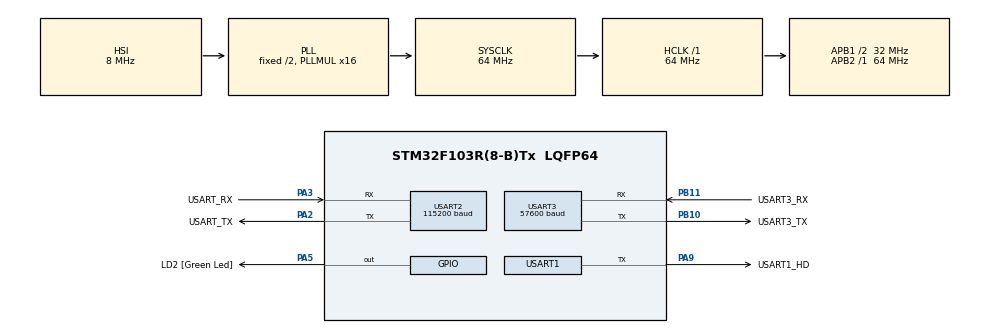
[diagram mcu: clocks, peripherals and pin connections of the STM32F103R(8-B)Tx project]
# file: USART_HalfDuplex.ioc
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Mcu.Family=STM32F1
Mcu.Name=STM32F103R(8-B)Tx
Mcu.Package=LQFP64
NVIC.PriorityGroup=NVIC_PRIORITYGROUP_4
NVIC.USART1_IRQn=true\:0\:0\:false\:false\:true\:true\:true\:true
NVIC.USART3_IRQn=true\:0\:0\:false\:false\:true\:true\:true\:true
PA13.GPIO_Label=TMS
PA13.Mode=Serial_Wire
PA13.Signal=SYS_JTMS-SWDIO
PA14.GPIO_Label=TCK
PA14.Mode=Serial_Wire
PA14.Signal=SYS_JTCK-SWCLK
PA2.GPIO_Label=USART_TX
PA2.GPIO_Mode=GPIO_MODE_AF_PP
PA2.GPIO_PuPd=GPIO_NOPULL
PA2.GPIO_Speed=GPIO_SPEED_FREQ_LOW
PA2.Mode=Asynchronous
PA2.Signal=USART2_TX
PA3.GPIO_Label=USART_RX
PA3.GPIO_PuPd=GPIO_NOPULL
PA3.GPIO_Speed=GPIO_SPEED_FREQ_LOW
PA3.Mode=Asynchronous
PA3.Signal=USART2_RX
PA5.GPIO_Label=LD2 [Green Led]
PA5.GPIO_ModeDefaultOutputPP=GPIO_MODE_OUTPUT_PP
PA5.GPIO_PuPd=GPIO_NOPULL
PA5.GPIO_Speed=GPIO_SPEED_FREQ_LOW
PA5.Signal=GPIO_Output
PA9.GPIO_Label=USART1_HD
PA9.GPIO_Mode=GPIO_MODE_AF_OD
PA9.GPIO_PuPd=GPIO_PULLUP
PA9.GPIO_Speed=GPIO_SPEED_FREQ_HIGH
PA9.Mode=Single_Wire
PA9.Signal=USART1_TX
PB10.GPIO_Label=USART3_TX
PB10.GPIO_Mode=GPIO_MODE_AF_OD
PB10.GPIO_PuPd=GPIO_PULLUP
PB10.GPIO_Speed=GPIO_SPEED_FREQ_HIGH
PB10.Mode=Asynchronous
PB10.Signal=USART3_TX
PB11.GPIO_Label=USART3_RX
PB11.GPIO_PuPd=GPIO_PULLUP
PB11.Mode=Asynchronous
PB11.Signal=USART3_RX
PB3.GPIO_Label=SWO
PB3.Signal=SYS_JTDO-TRACESWO
PC14-OSC32_IN.Mode=LSE-External-Oscillator
PC14-OSC32_IN.Signal=RCC_OSC32_IN
PC15-OSC32_OUT.Mode=LSE-External-Oscillator
PC15-OSC32_OUT.Signal=RCC_OSC32_OUT
PD0-OSC_IN.Mode=HSE-External-Clock-Source
PD0-OSC_IN.Signal=RCC_OSC_IN
PD1-OSC_OUT.Mode=HSE-External-Clock-Source
PD1-OSC_OUT.Signal=RCC_OSC_OUT
ProjectManager.HeapSize=0x200
ProjectManager.StackSize=0x400
ProjectManager.TargetToolchain=STM32CubeIDE
RCC.AHBFreq_Value=64000000
RCC.APB1CLKDivider=RCC_HCLK_DIV2
RCC.APB1Freq_Value=32000000
RCC.APB1TimFreq_Value=64000000
RCC.APB2Freq_Value=64000000
RCC.APB2TimFreq_Value=64000000
RCC.HCLKFreq_Value=64000000
RCC.PLLMUL=RCC_PLL_MUL16
RCC.RTCClockSelection=RCC_RTCCLKSOURCE_LSE
RCC.SYSCLKFreq_VALUE=64000000
RCC.SYSCLKSource=RCC_SYSCLKSOURCE_PLLCLK
RCC.USBFreq_Value=64000000
USART1.BaudRate=57600
USART1.VirtualMode=VM_SINGLEWIRE
USART2.BaudRate=115200
USART2.VirtualMode=VM_ASYNC
USART3.BaudRate=57600
USART3.VirtualMode=VM_ASYNC
board=NUCLEO-F103RB

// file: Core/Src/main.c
/* USER CODE BEGIN Header */
/**
 ******************************************************************************
 * @file           : main.c
 * @brief          : Main program body
 ******************************************************************************
 * @attention
 *
 * Copyright (c) 2026 STMicroelectronics.
 * All rights reserved.
 *
 * This software is licensed under terms that can be found in the LICENSE file
 * in the root directory of this software component.
 * If no LICENSE file comes with this software, it is provided AS-IS.
 *
 ******************************************************************************
 */
/**
 * 06_USART_HalfDuplex_c  —  [계층: HAL]  USART 단선(Half-duplex) 모드: 한 가닥 선으로 송수신 (RS-485/스마트 서보 방식)
 *
 * 단선 모드란 (RM0008 27장 USART, "Single-wire half-duplex communication")
 *   TX 핀 하나가 송신과 수신을 번갈아 쓴다. 내부적으로 RX 를 TX 핀에 연결하고 CR3.HDSEL=1 로 켠다.
 *   버스에는 오픈드레인 + 풀업이 필요하고, "지금 누가 말하는가"를 프로토콜로 정해야 한다(마스터가 묻고 슬레이브가 답하는 방식이 흔함).
 *   HAL_HalfDuplex_EnableTransmitter()/EnableReceiver() 로 방향을 바꾼다 (CR1.TE / CR1.RE 전환).
 *
 * 이 예제는 보드 한 장으로 시험하도록 구성했다
 *   [마스터] USART1 (단선 모드, PA9)                         [가짜 슬레이브] USART3 (일반 전이중, PB10=TX, PB11=RX)
 *   버스 선 하나:  PA9 ----+---- PB11 (USART3_RX)
 *                          +---- PB10 (USART3_TX)     -> 세 핀을 점퍼선으로 모두 연결하고 3.3V 풀업(4.7kΩ) 권장
 *   동작: 마스터가 "PING" 송신 -> 수신 모드로 전환 -> 슬레이브가 "PONG" 으로 응답 -> 마스터가 수신 확인.
 *         (슬레이브 USART3 는 자기가 보낸 데이터를 RX 로 다시 듣게 되므로 그 4바이트는 버린다)
 *   결과는 ST-Link 가상 COM(USART2, 115200)으로 1초마다 출력.
 *
 * 하드웨어 대응
 *   USART1->CR3.HDSEL(bit3) = 1 : 단선 반이중,  PA9 는 대체기능 오픈드레인(CNF=11).
 *     GPIO_PULLUP 은 F1 의 대체기능 출력 모드에서 적용되지 않으므로 버스에는 외부 풀업(4.7kΩ)을 단다.
 *   송신 후에는 SR.TC(전송 완료)를 확인한 다음 수신으로 바꿔야 마지막 바이트가 잘리지 않는다 (HAL_UART_Transmit 이 TC 까지 기다림)
 *
 * 수신은 "상대가 보내기 전에" 미리 걸어 둔다 (HAL_UART_Receive_IT, CR1.RXNEIE=1)
 *   USART 수신 데이터 레지스터(DR)는 1바이트뿐이다. 송신을 블로킹으로 다 끝낸 뒤에 HAL_UART_Receive() 로 받기 시작하면
 *   그 사이 아무도 DR 을 읽지 않으므로 첫 바이트만 남고 나머지는 오버런(SR.ORE)으로 사라진다.
 *   그래서 슬레이브 수신(USART3)과 마스터 수신(USART1)을 각각 상대 송신 "전에" 인터럽트로 무장하고,
 *   송신은 폴링(HAL_UART_Transmit), 수신 완료는 RxState 가 READY 로 돌아오는지로 확인한다(WaitRx).
 *
 * ISR vs 콜백
 *   USART1_IRQHandler / USART3_IRQHandler (stm32f1xx_it.c, 진짜 ISR) -> HAL_UART_IRQHandler()
 *     -> RXNE 마다 DR 을 읽어 버퍼에 저장, 지정한 바이트 수가 차면 RXNEIE 를 끄고 RxState = READY.
 *   이 예제는 HAL_UART_RxCpltCallback 을 쓰지 않고 main 이 RxState 를 확인한다.
 *   실제 RS-485 에서는 트랜시버의 DE/RE 핀을 방향 전환 시점에 GPIO 로 제어한다.
 */
/* USER CODE END Header */
#include "main.h"

/* USER CODE BEGIN Includes */
#include <stdio.h>
#include <string.h>
/* USER CODE END Includes */

UART_HandleTypeDef huart1;    /* 마스터: 단선 모드 */
UART_HandleTypeDef huart2;    /* 로그 출력 (가상 COM) */
UART_HandleTypeDef huart3;    /* 가짜 슬레이브 */

void SystemClock_Config(void);
static void MX_GPIO_Init(void);
static void MX_USART1_UART_Init(void);
static void MX_USART2_UART_Init(void);
static void MX_USART3_UART_Init(void);
/* USER CODE BEGIN PFP */
static HAL_StatusTypeDef WaitRx(UART_HandleTypeDef *huart, uint32_t timeout_ms);

/* USER CODE END PFP */

/* USER CODE BEGIN 0 */
/*
 * 인터럽트 수신(HAL_UART_Receive_IT)이 끝날 때까지 기다린다.
 *   - 정상: HAL_UART_IRQHandler 가 지정 바이트 수를 다 받으면 RxState 를 READY 로 돌린다 -> HAL_OK
 *   - 오류: ORE/FE/NE 등이 나면 HAL 이 수신을 중단하고 ErrorCode 를 남긴다 -> HAL_ERROR
 *   - 시간 초과: 수신을 취소(HAL_UART_AbortReceive: RXNEIE=0, RxState=READY)해 다음 시도를 준비한다 -> HAL_TIMEOUT
 */
static HAL_StatusTypeDef WaitRx(UART_HandleTypeDef *huart, uint32_t timeout_ms)
{
  uint32_t t0 = HAL_GetTick();
  while (huart->RxState != HAL_UART_STATE_READY)
  {
    if ((HAL_GetTick() - t0) > timeout_ms)
    {
      HAL_UART_AbortReceive(huart);
      return HAL_TIMEOUT;
    }
  }
  return (huart->ErrorCode == HAL_UART_ERROR_NONE) ? HAL_OK : HAL_ERROR;
}
/* USER CODE END 0 */

int main(void)
{

  /* USER CODE BEGIN 1 */
  char msg[96];
  uint32_t ok = 0, fail = 0, seq = 0;
  /* USER CODE END 1 */

  /* MCU Configuration--------------------------------------------------------*/

  /* Reset of all peripherals, Initializes the Flash interface and the Systick. */
  HAL_Init();

  /* Configure the system clock */
  SystemClock_Config();

  /* Initialize all configured peripherals */
  MX_GPIO_Init();
  MX_USART1_UART_Init();
  MX_USART2_UART_Init();
  MX_USART3_UART_Init();

  /* Infinite loop */
  while (1)
  {

    /* USER CODE BEGIN 3 */
    uint8_t req[4] = { 'P', 'I', 'N', 'G' };
    uint8_t rsp[4] = {0};
    uint8_t slave_rx[8] = {0};
    HAL_StatusTypeDef st_slave = HAL_ERROR, st_master = HAL_ERROR;

    /* 1) 슬레이브 수신을 먼저 무장한다: USART3->CR1.RXNEIE=1 (바이트마다 ISR 이 DR 을 읽어 slave_rx 에 저장)
     *    마스터가 송신을 시작한 뒤에 받기 시작하면 DR(1바이트) 에 첫 바이트만 남고 나머지는 ORE 로 사라진다. */
    HAL_UART_Receive_IT(&huart3, slave_rx, 4);

    /* 2) 마스터: 송신 모드로 바꾸고 "PING" 전송 (마지막 바이트 TC 까지 대기) */
    HAL_HalfDuplex_EnableTransmitter(&huart1);                 /* USART1->CR1.TE=1, RE=0 */
    HAL_UART_Transmit(&huart1, req, 4, 50);
    st_slave = WaitRx(&huart3, 20);                            /* 4바이트 = 약 0.7ms (57600bps) */

    if (st_slave == HAL_OK && memcmp(slave_rx, "PING", 4) == 0)
    {
      /* 3) 마스터: 수신 모드로 바꾸고 응답 수신을 먼저 무장한다 (USART1->CR1.TE=0, RE=1, RXNEIE=1) */
      HAL_HalfDuplex_EnableReceiver(&huart1);
      HAL_UART_Receive_IT(&huart1, rsp, 4);

      /* 4) 슬레이브: 자기 송신이 PB11 로 되돌아오므로(같은 선) 에코 4바이트를 받을 수신도 먼저 무장한 뒤 "PONG" 응답 */
      uint8_t pong[4] = { 'P', 'O', 'N', 'G' };
      uint8_t echo[4];
      HAL_UART_Receive_IT(&huart3, echo, 4);
      HAL_UART_Transmit(&huart3, pong, 4, 50);
      WaitRx(&huart3, 20);                                     /* 자기 응답의 에코 제거 */
      st_master = WaitRx(&huart1, 20);                         /* 마스터가 응답 수신 */
    }

    if (st_master == HAL_OK && memcmp(rsp, "PONG", 4) == 0) ok++; else fail++;

    int n = snprintf(msg, sizeof msg, "#%lu  slave got \"%.4s\"  master got \"%.4s\"  ok=%lu fail=%lu\r\n",
                     (unsigned long)seq++, slave_rx, rsp, (unsigned long)ok, (unsigned long)fail);
    HAL_UART_Transmit(&huart2, (uint8_t *)msg, (uint16_t)n, 100);
    HAL_Delay(1000);
  }
  /* USER CODE END 3 */
}

void SystemClock_Config(void)
{
  RCC_OscInitTypeDef RCC_OscInitStruct = {0};
  RCC_ClkInitTypeDef RCC_ClkInitStruct = {0};

  /** Initializes the RCC Oscillators according to the specified parameters
  * in the RCC_OscInitTypeDef structure.
  */
  RCC_OscInitStruct.OscillatorType = RCC_OSCILLATORTYPE_HSI;
  RCC_OscInitStruct.HSIState = RCC_HSI_ON;
  RCC_OscInitStruct.HSICalibrationValue = RCC_HSICALIBRATION_DEFAULT;
  RCC_OscInitStruct.PLL.PLLState = RCC_PLL_ON;
  RCC_OscInitStruct.PLL.PLLSource = RCC_PLLSOURCE_HSI_DIV2;
  RCC_OscInitStruct.PLL.PLLMUL = RCC_PLL_MUL16;
  if (HAL_RCC_OscConfig(&RCC_OscInitStruct) != HAL_OK)
  {
    Error_Handler();
  }

  /** Initializes the CPU, AHB and APB buses clocks
  */
  RCC_ClkInitStruct.ClockType = RCC_CLOCKTYPE_HCLK|RCC_CLOCKTYPE_SYSCLK
                              |RCC_CLOCKTYPE_PCLK1|RCC_CLOCKTYPE_PCLK2;
  RCC_ClkInitStruct.SYSCLKSource = RCC_SYSCLKSOURCE_PLLCLK;
  RCC_ClkInitStruct.AHBCLKDivider = RCC_SYSCLK_DIV1;
  RCC_ClkInitStruct.APB1CLKDivider = RCC_HCLK_DIV2;
  RCC_ClkInitStruct.APB2CLKDivider = RCC_HCLK_DIV1;

  if (HAL_RCC_ClockConfig(&RCC_ClkInitStruct, FLASH_LATENCY_2) != HAL_OK)
  {
    Error_Handler();
  }
}

static void MX_USART1_UART_Init(void)
{

  huart1.Instance = USART1;
  huart1.Init.BaudRate = 57600;
  huart1.Init.WordLength = UART_WORDLENGTH_8B;
  huart1.Init.StopBits = UART_STOPBITS_1;
  huart1.Init.Parity = UART_PARITY_NONE;
  huart1.Init.Mode = UART_MODE_TX_RX;
  huart1.Init.HwFlowCtl = UART_HWCONTROL_NONE;
  huart1.Init.OverSampling = UART_OVERSAMPLING_16;
  if (HAL_HalfDuplex_Init(&huart1) != HAL_OK)
  {
    Error_Handler();
  }
  /* USER CODE BEGIN USART1_Init 2 */
  /* HAL_HalfDuplex_Init: CR3.HDSEL = 1, CR2.LINEN/CLKEN = 0, CR3.SCEN/IREN = 0 */

  /* USER CODE END USART1_Init 2 */

}

static void MX_USART2_UART_Init(void)
{

  huart2.Instance = USART2;
  huart2.Init.BaudRate = 115200;
  huart2.Init.WordLength = UART_WORDLENGTH_8B;
  huart2.Init.StopBits = UART_STOPBITS_1;
  huart2.Init.Parity = UART_PARITY_NONE;
  huart2.Init.Mode = UART_MODE_TX_RX;
  huart2.Init.HwFlowCtl = UART_HWCONTROL_NONE;
  huart2.Init.OverSampling = UART_OVERSAMPLING_16;
  if (HAL_UART_Init(&huart2) != HAL_OK)
  {
    Error_Handler();
  }

}

static void MX_USART3_UART_Init(void)
{

  huart3.Instance = USART3;
  huart3.Init.BaudRate = 57600;
  huart3.Init.WordLength = UART_WORDLENGTH_8B;
  huart3.Init.StopBits = UART_STOPBITS_1;
  huart3.Init.Parity = UART_PARITY_NONE;
  huart3.Init.Mode = UART_MODE_TX_RX;
  huart3.Init.HwFlowCtl = UART_HWCONTROL_NONE;
  huart3.Init.OverSampling = UART_OVERSAMPLING_16;
  if (HAL_UART_Init(&huart3) != HAL_OK)
  {
    Error_Handler();
  }

}

static void MX_GPIO_Init(void)
{
  GPIO_InitTypeDef GPIO_InitStruct = {0};

  /* GPIO Ports Clock Enable */
  __HAL_RCC_GPIOC_CLK_ENABLE();
  __HAL_RCC_GPIOD_CLK_ENABLE();
  __HAL_RCC_GPIOA_CLK_ENABLE();
  __HAL_RCC_GPIOB_CLK_ENABLE();

  /*Configure GPIO pin Output Level */
  HAL_GPIO_WritePin(LD2_GPIO_Port, LD2_Pin, GPIO_PIN_RESET);

  /*Configure GPIO pin : LD2_Pin */
  GPIO_InitStruct.Pin = LD2_Pin;
  GPIO_InitStruct.Mode = GPIO_MODE_OUTPUT_PP;
  GPIO_InitStruct.Pull = GPIO_NOPULL;
  GPIO_InitStruct.Speed = GPIO_SPEED_FREQ_LOW;
  HAL_GPIO_Init(LD2_GPIO_Port, &GPIO_InitStruct);

}

void Error_Handler(void)
{
  __disable_irq();
  while (1) {
  }
}
#ifdef USE_FULL_ASSERT
/**
  * @brief  Reports the name of the source file and the source line number
  *         where the assert_param error has occurred.
  * @param  file: pointer to the source file name
  * @param  line: assert_param error line source number
  * @retval None
  */
void assert_failed(uint8_t *file, uint32_t line)
{
  /* USER CODE BEGIN 6 */
  /* User can add his own implementation to report the file name and line
     number, ex: printf("Wrong parameters value: file %s on line %d\r\n", file,
     line) */
  /* USER CODE END 6 */
}
#endif /* USE_FULL_ASSERT */
